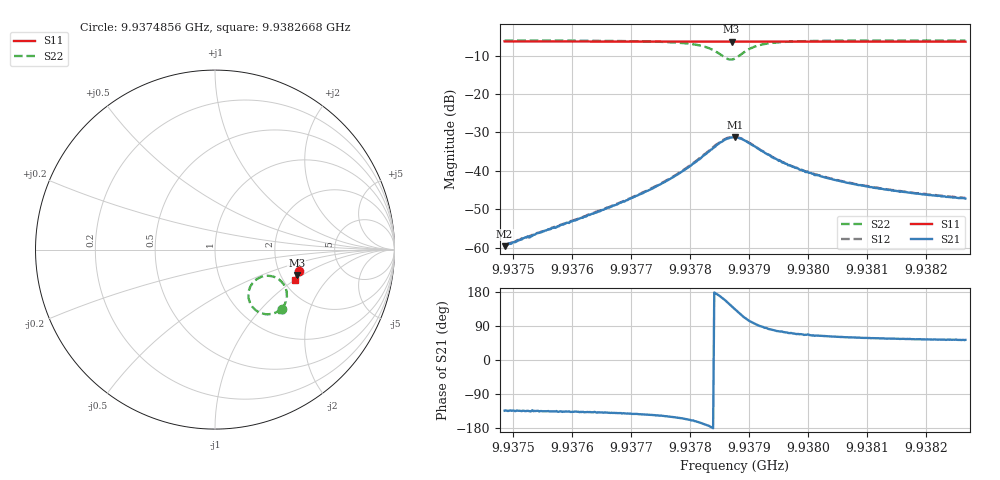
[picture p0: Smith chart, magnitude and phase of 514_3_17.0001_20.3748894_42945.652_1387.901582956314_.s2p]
#  HZ  S  RI  R  50.00
! Rohde & Schwarz Vector Network Analyzer
! Rohde-Schwarz,ZNB20-2Port,1311601062101988,3.16
! Created: UTC 3/20/2024, 11:15:08 PM
! freq[Hz]  re:S11  im:S11  re:S21  im:S21  re:S12  im:S12  re:S22  im:S22
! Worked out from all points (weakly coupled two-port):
!   401 points, 9.9374856 GHz to 9.9382668 GHz, reference 50 ohm
!   highest |S21| = -31.27 dB at 9.9378762 GHz (marker M1); lowest = -59.6 dB at 9.9374856 GHz (marker M2)
!   lowest |S11| = -6.4 dB at 9.9378704 GHz (marker M3), VSWR 2.83, Z = 122 - j45.5 ohm
!   |S11| at or under -10 dB: nowhere
!   |S22| runs from -11.0 to -6.1 dB; largest |S21 - S12| = 0.0011
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9.93748561e9  0.4675 -0.1207  -0.000726 -0.000756  -0.000762 -0.000763  0.3716 -0.3294
9.93752076e9  0.4666 -0.123  -0.00097 -0.00097  -0.000946 -0.00096  0.368 -0.3323
9.93753248e9  0.4664 -0.1239  -0.000958 -0.00105  -0.00104 -0.00104  0.3667 -0.3335
9.93761646e9  0.4646 -0.1293  -0.0018 -0.00166  -0.00185 -0.00167  0.3557 -0.3412
9.93769067e9  0.4626 -0.1344  -0.00319 -0.00256  -0.00327 -0.00255  0.34 -0.3501
9.93774731e9  0.461 -0.1382  -0.00549 -0.00361  -0.00565 -0.00357  0.3175 -0.3578
9.93779028e9  0.4596 -0.1413  -0.00928 -0.00431  -0.00956 -0.00426  0.284 -0.3601
9.93782543e9  0.4579 -0.1434  -0.0161 -0.0028  -0.0164 -0.00256  0.2307 -0.3402
9.9378391e9  0.457 -0.1442  -0.0198 -1.87e-05  -0.0204 0.000421  0.204 -0.3125
9.93785277e9  0.4562 -0.1446  -0.023 0.0057  -0.0234 0.00648  0.1865 -0.2622
9.93786254e9  0.4559 -0.1445  -0.0234 0.0118  -0.0235 0.0127  0.1933 -0.2143
9.93787035e9  0.4557 -0.1442  -0.0214 0.0168  -0.0213 0.0178  0.2164 -0.1786
9.93787621e9  0.4558 -0.1442  -0.0189 0.0198  -0.0185 0.0207  0.2423 -0.1591
9.93788597e9  0.4561 -0.1444  -0.0132 0.0229  -0.0125 0.0234  0.291 -0.1458
9.93789964e9  0.4566 -0.1449  -0.00554 0.0224  -0.00512 0.0228  0.347 -0.1603
9.93792113e9  0.457 -0.1467  0.000504 0.0183  0.000949 0.0183  0.3885 -0.2038
9.93796214e9  0.4566 -0.1501  0.00365 0.0118  0.00389 0.0118  0.4007 -0.26
9.93800706e9  0.4555 -0.1534  0.00397 0.00827  0.00405 0.00837  0.3951 -0.2893
9.93806956e9  0.454 -0.1577  0.00348 0.006  0.00364 0.00601  0.3859 -0.3099
9.93813791e9  0.452 -0.1622  0.0031 0.00472  0.00321 0.00468  0.3774 -0.3226
9.9381965e9  0.4504 -0.1661  0.00286 0.00403  0.00301 0.00405  0.3715 -0.3302
9.93826681e9  0.4485 -0.1706  0.00263 0.00349  0.00276 0.00351  0.3654 -0.3372
